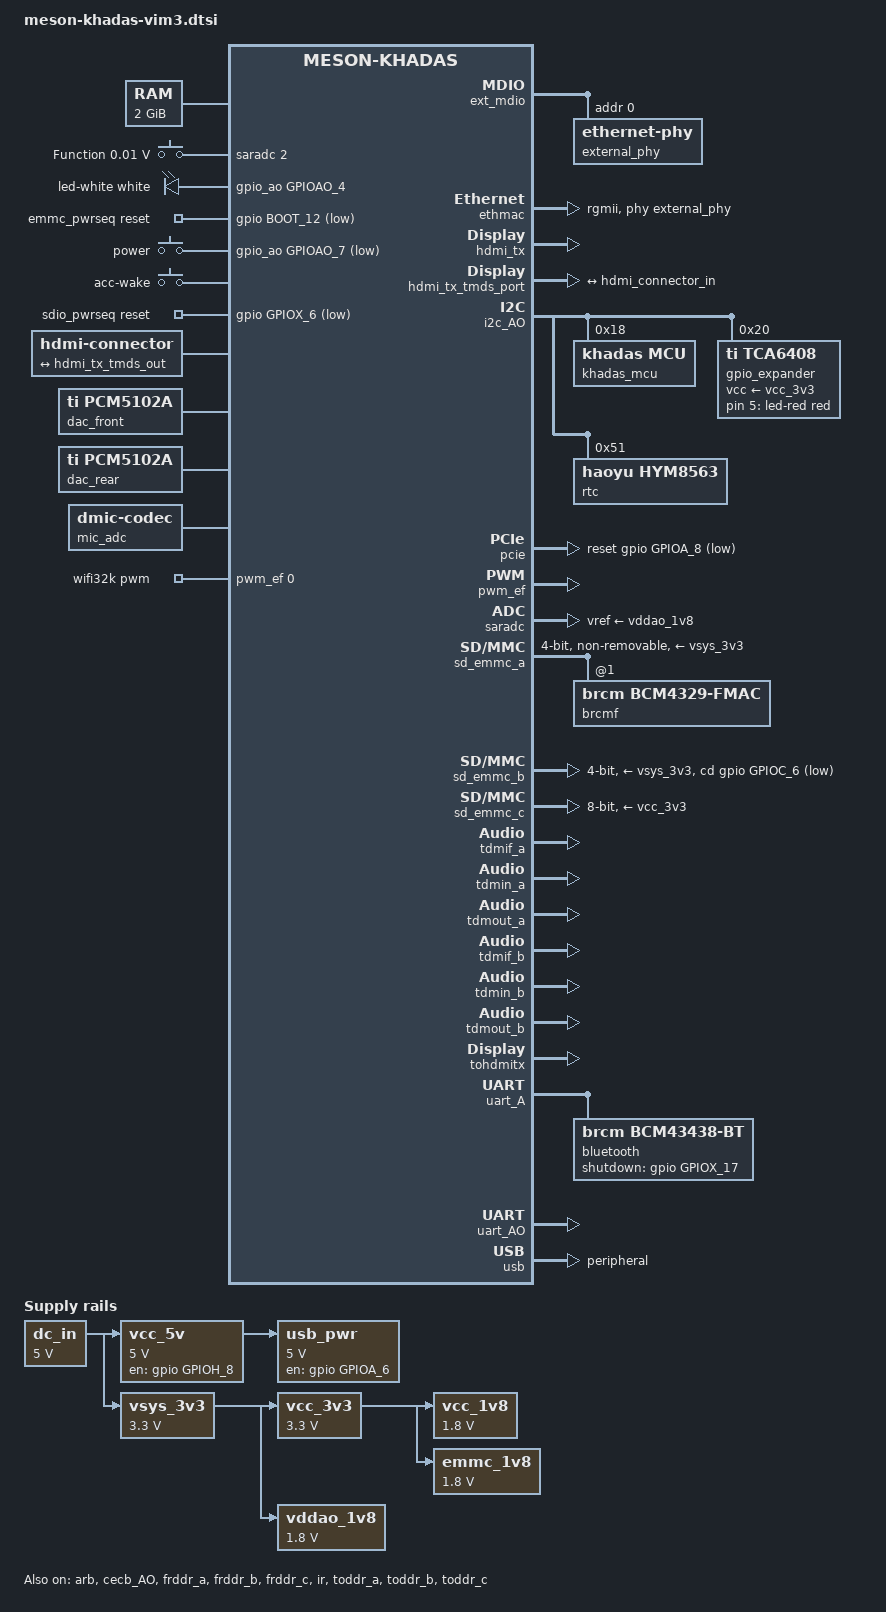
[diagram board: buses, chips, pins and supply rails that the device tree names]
// SPDX-License-Identifier: (GPL-2.0+ OR MIT)
/*
 * Copyright (c) 2019 BayLibre, SAS
 * Author: Neil Armstrong <narmstrong@baylibre.com>
 * Copyright (c) 2019 Christian Hewitt <christianshewitt@gmail.com>
 */

#include <dt-bindings/input/input.h>
#include <dt-bindings/leds/common.h>
#include <dt-bindings/gpio/meson-g12a-gpio.h>
#include <dt-bindings/sound/meson-g12a-tohdmitx.h>

/ {
	aliases {
		serial0 = &uart_AO;
		ethernet0 = &ethmac;
		rtc0 = &rtc;
		rtc1 = &vrtc;
	};

	chosen {
		stdout-path = "serial0:115200n8";
	};

	memory@0 {
		device_type = "memory";
		reg = <0x0 0x0 0x0 0x80000000>;
	};

	adc-keys {
		compatible = "adc-keys";
		io-channels = <&saradc 2>;
		io-channel-names = "buttons";
		keyup-threshold-microvolt = <1710000>;

		button-function {
			label = "Function";
			linux,code = <KEY_FN>;
			press-threshold-microvolt = <10000>;
		};
	};

	leds {
		compatible = "gpio-leds";

		led-white {
			color = <LED_COLOR_ID_WHITE>;
			function = LED_FUNCTION_STATUS;
			gpios = <&gpio_ao GPIOAO_4 GPIO_ACTIVE_HIGH>;
			linux,default-trigger = "heartbeat";
		};

		led-red {
			color = <LED_COLOR_ID_RED>;
			function = LED_FUNCTION_STATUS;
			gpios = <&gpio_expander 5 GPIO_ACTIVE_HIGH>;
		};
	};

	emmc_pwrseq: emmc-pwrseq {
		compatible = "mmc-pwrseq-emmc";
		reset-gpios = <&gpio BOOT_12 GPIO_ACTIVE_LOW>;
	};

	/*
	 * KEY_POWER here is driven by the Pico MCU relaying the car's ACC line
	 * (short press = ACC edge, long press = real power-off request -- see
	 * SchuurmanVehicleHardware accKeyLoop). The state is read by polling.
	 */
	gpio-keys-polled {
		compatible = "gpio-keys-polled";
		poll-interval = <100>;

		power-button {
			label = "power";
			linux,code = <KEY_POWER>;
			gpios = <&gpio_ao GPIOAO_7 GPIO_ACTIVE_LOW>;
		};
	};

	/*
	 * A polled GPIO cannot wake the SoC from suspend (nothing is running to
	 * poll it), which broke resuming from ACC-triggered suspend-to-RAM. The
	 * same pin (always-on domain) also has a real interrupt line through
	 * gpio_intc, so add an interrupt-only wake source next to the polled key.
	 *
	 * The G12 GPIO interrupt controller cannot do both-edge triggers (only
	 * sm1 and newer set support_edge_both), so this is falling-edge only: the
	 * pin is active-low, i.e. this is the "press". It emits an unmapped code
	 * so Android does not treat it as a wake/power key by itself; the polled
	 * node above keeps reporting KEY_POWER once the system is running again.
	 */
	gpio-keys-wake {
		compatible = "gpio-keys";

		acc-wake {
			label = "acc-wake";
			linux,code = <BTN_TRIGGER_HAPPY>;
			interrupt-parent = <&gpio_intc>;
			interrupts = <IRQID_GPIOAO_7 IRQ_TYPE_EDGE_FALLING>;
			wakeup-source;
		};
	};

	sdio_pwrseq: sdio-pwrseq {
		compatible = "mmc-pwrseq-simple";
		reset-gpios = <&gpio GPIOX_6 GPIO_ACTIVE_LOW>;
		clocks = <&wifi32k>;
		clock-names = "ext_clock";
	};

	dc_in: regulator-dc-in {
		compatible = "regulator-fixed";
		regulator-name = "DC_IN";
		regulator-min-microvolt = <5000000>;
		regulator-max-microvolt = <5000000>;
		regulator-always-on;
	};

	vcc_5v: regulator-vcc-5v {
		compatible = "regulator-fixed";
		regulator-name = "VCC_5V";
		regulator-min-microvolt = <5000000>;
		regulator-max-microvolt = <5000000>;
		vin-supply = <&dc_in>;

		gpio = <&gpio GPIOH_8 GPIO_OPEN_DRAIN>;
		enable-active-high;
	};

	vcc_1v8: regulator-vcc-1v8 {
		compatible = "regulator-fixed";
		regulator-name = "VCC_1V8";
		regulator-min-microvolt = <1800000>;
		regulator-max-microvolt = <1800000>;
		vin-supply = <&vcc_3v3>;
		regulator-always-on;
	};

	vcc_3v3: regulator-vcc-3v3 {
		compatible = "regulator-fixed";
		regulator-name = "VCC_3V3";
		regulator-min-microvolt = <3300000>;
		regulator-max-microvolt = <3300000>;
		vin-supply = <&vsys_3v3>;
		regulator-always-on;
		/* FIXME: actually controlled by VDDCPU_B_EN */
	};

	vddao_1v8: regulator-vddao-1v8 {
		compatible = "regulator-fixed";
		regulator-name = "VDDIO_AO1V8";
		regulator-min-microvolt = <1800000>;
		regulator-max-microvolt = <1800000>;
		vin-supply = <&vsys_3v3>;
		regulator-always-on;
	};

	emmc_1v8: regulator-emmc-1v8 {
		compatible = "regulator-fixed";
		regulator-name = "EMMC_AO1V8";
		regulator-min-microvolt = <1800000>;
		regulator-max-microvolt = <1800000>;
		vin-supply = <&vcc_3v3>;
		regulator-always-on;
	};

	vsys_3v3: regulator-vsys-3v3 {
		compatible = "regulator-fixed";
		regulator-name = "VSYS_3V3";
		regulator-min-microvolt = <3300000>;
		regulator-max-microvolt = <3300000>;
		vin-supply = <&dc_in>;
		regulator-always-on;
	};

	usb_pwr: regulator-usb-pwr {
		compatible = "regulator-fixed";
		regulator-name = "USB_PWR";
		regulator-min-microvolt = <5000000>;
		regulator-max-microvolt = <5000000>;
		vin-supply = <&vcc_5v>;

		gpio = <&gpio GPIOA_6 GPIO_ACTIVE_HIGH>;
		enable-active-high;
	};

	hdmi-connector {
		compatible = "hdmi-connector";
		type = "a";

		port {
			hdmi_connector_in: endpoint {
				remote-endpoint = <&hdmi_tx_tmds_out>;
			};
		};
	};


	sound {
		compatible = "amlogic,axg-sound-card";
		model = "KHADAS-VIM3";
		/*
		 * The PCM5102A codec has no DAPM widgets, so give the TDM-B playback path a
		 * sink endpoint here; without one DAPM never powers TDMOUT_B (its formatter
		 * is enabled from a DAPM event) and the DACs get no data.
		 */
		audio-widgets = "Line", "Car Audio Module Out";
		audio-aux-devs = <&tdmin_a>, <&tdmout_a>,
				 <&tdmin_b>, <&tdmout_b>;
		audio-routing = "TDMOUT_A IN 0", "FRDDR_A OUT 0",
				"TDMOUT_A IN 1", "FRDDR_B OUT 0",
				"TDMOUT_A IN 2", "FRDDR_C OUT 0",
				"TDM_A Playback", "TDMOUT_A OUT",
				"TDMOUT_B IN 0", "FRDDR_A OUT 1",
				"TDMOUT_B IN 1", "FRDDR_B OUT 1",
				"TDMOUT_B IN 2", "FRDDR_C OUT 1",
				"TDM_B Playback", "TDMOUT_B OUT",
				"Car Audio Module Out", "TDM_B Playback",
				"TDMIN_A IN 0", "TDM_A Capture",
				"TDMIN_A IN 3", "TDM_A Loopback",
				"TDMIN_B IN 1", "TDM_B Capture",
				"TDMIN_B IN 4", "TDM_B Loopback",
				"TODDR_A IN 0", "TDMIN_A OUT",
				"TODDR_B IN 0", "TDMIN_A OUT",
				"TODDR_C IN 0", "TDMIN_A OUT",
				"TODDR_A IN 1", "TDMIN_B OUT",
				"TODDR_B IN 1", "TDMIN_B OUT",
				"TODDR_C IN 1", "TDMIN_B OUT";

		clocks = <&clkc CLKID_MPLL2>,
			 <&clkc CLKID_MPLL0>,
			 <&clkc CLKID_MPLL1>;

		assigned-clocks = <&clkc CLKID_MPLL2>,
				  <&clkc CLKID_MPLL0>,
				  <&clkc CLKID_MPLL1>;
		assigned-clock-parents = <0>, <0>, <0>;
		assigned-clock-rates = <294912000>,
				       <270950400>,
				       <393216000>;

		dai-link-0 {
			sound-dai = <&frddr_a>;
		};

		dai-link-1 {
			sound-dai = <&frddr_b>;
		};

		dai-link-2 {
			sound-dai = <&frddr_c>;
		};

		dai-link-3 {
			sound-dai = <&toddr_a>;
		};

		dai-link-4 {
			sound-dai = <&toddr_b>;
		};

		dai-link-5 {
			sound-dai = <&toddr_c>;
		};

		/* 8ch hdmi interface */
		dai-link-6 {
			sound-dai = <&tdmif_a>;
			dai-format = "i2s";
			dai-tdm-slot-tx-mask-0 = <1 1>;
			dai-tdm-slot-tx-mask-1 = <1 1>;
			dai-tdm-slot-tx-mask-2 = <1 1>;
			dai-tdm-slot-tx-mask-3 = <1 1>;
			mclk-fs = <256>;

			codec {
				sound-dai = <&tohdmitx TOHDMITX_I2S_IN_A>;
			};
		};

		/* hdmi glue */
		dai-link-7 {
			sound-dai = <&tohdmitx TOHDMITX_I2S_OUT>;

			codec {
				sound-dai = <&hdmi_tx>;
			};
		};

		/*
		 * Car audio module on the 40-pin header (TDM-B, I2S, SoC is clock master):
		 *   pin 29 GPIOA_1 BCLK, pin 32 GPIOA_2 LRCK (shared by all three converters)
		 *   pin 31 GPIOA_3 lane 0 out -> front PCM5102A (ch 0/1 = FL/FR)
		 *   pin 33 GPIOA_4 lane 1 out -> rear PCM5102A  (ch 2/3 = RL/RR)
		 *   pin 30 GPIOA_0 MCLK0 (256 fs) -> PCM1808 SCKI
		 *   pin 35 GPIOH_5 lane 3 in  <- PCM1808 DOUT (mic on the left channel)
		 * 32-bit slots, so BCLK = 64 fs: the PCM1808 in slave mode needs 64 fs (or
		 * 48 fs), and the PCM5102A PLL accepts 32/48/64 fs. The PCM1808 has no driver
		 * of its own; dmic-codec is a generic capture-only DAI that stands in for it.
		 * Playback and capture share the interface clocks, so they always run at the
		 * same rate.
		 */
		dai-link-8 {
			sound-dai = <&tdmif_b>;
			dai-format = "i2s";
			dai-tdm-slot-num = <2>;
			dai-tdm-slot-width = <32>;
			dai-tdm-slot-tx-mask-0 = <1 1>;
			dai-tdm-slot-tx-mask-1 = <1 1>;
			dai-tdm-slot-rx-mask-3 = <1 1>;
			mclk-fs = <256>;

			codec-0 {
				sound-dai = <&dac_front>;
			};

			codec-1 {
				sound-dai = <&dac_rear>;
			};

			codec-2 {
				sound-dai = <&mic_adc>;
			};
		};
	};

	dac_front: audio-codec-0 {
		compatible = "ti,pcm5102a";
		#sound-dai-cells = <0>;
		sound-name-prefix = "DAC_FRONT";
	};

	dac_rear: audio-codec-1 {
		compatible = "ti,pcm5102a";
		#sound-dai-cells = <0>;
		sound-name-prefix = "DAC_REAR";
	};

	/* PCM1808 I2S ADC (FMT/MD0/MD1 low: I2S, slave), fed by a MAX9814 mic preamp */
	mic_adc: audio-codec-2 {
		compatible = "dmic-codec";
		#sound-dai-cells = <0>;
		num-channels = <2>;
		sound-name-prefix = "MIC_ADC";
	};

	wifi32k: wifi32k {
		compatible = "pwm-clock";
		#clock-cells = <0>;
		clock-frequency = <32768>;
		pwms = <&pwm_ef 0 30518 0>; /* PWM_E at 32.768KHz */
	};

	/*
	 * OP-TEE (BL32 in the FIP, TZDRAM 0x05300000 + 12 MiB, already inside the
	 * secmon@5300000 no-map reservation). Lives in the base DT rather than the DTBO
	 * because U-Boot never applies the DTBO overlay (adtbo_idx is not set).
	 *
	 * Dynamic SHM used to never activate on this platform: OP-TEE core only advertises it when
	 * core_mmu_nsec_ddr_is_defined() is true, which the g12b optee_os port never registered
	 * (confirmed via a live kprobe on pool_op_gen_alloc, 2026-09-22). Linux fell back to the
	 * static SHM pool at CFG_SHMEM_START=0x05000000, which turned out to be inside a range
	 * Amlogic's stock BL2 hardware-secures for its entire extent (confirmed by decompiling
	 * bl2.bin) -- causing real SError crashes. Fixed on the OP-TEE side, not here: see
	 * bootloader/optee_os/core/arch/arm/plat-amlogic/main.c (register_ddr() of the real
	 * non-secure DDR ranges) and conf.mk (CFG_CORE_RESERVED_SHM=n, so the hardware-secured
	 * static pool can never be used again). No memory-region/CMA carve-out needed here.
	 * See device/khadas/vim3/handoff-keymint-optee.md.
	 */
	firmware {
		optee {
			compatible = "linaro,optee-tz";
			method = "smc";
		};
	};
};

&arb {
	status = "okay";
};

&clkc_audio {
	status = "okay";
};

&cec_AO {
	pinctrl-0 = <&cec_ao_a_h_pins>;
	pinctrl-names = "default";
	status = "disabled";
	hdmi-phandle = <&hdmi_tx>;
};

&cecb_AO {
	pinctrl-0 = <&cec_ao_b_h_pins>;
	pinctrl-names = "default";
	status = "okay";
	hdmi-phandle = <&hdmi_tx>;
};

&cpu_thermal {
	trips {
		cpu_fan_low: cpu-fan-low {
			temperature = <45000>; /* millicelsius */
			hysteresis = <3000>; /* millicelsius */
			type = "active";
		};
		cpu_fan_med: cpu-fan-med {
			temperature = <55000>; /* millicelsius */
			hysteresis = <3000>; /* millicelsius */
			type = "active";
		};
		cpu_fan_high: cpu-fan-high {
			temperature = <65000>; /* millicelsius */
			hysteresis = <3000>; /* millicelsius */
			type = "active";
		};
	};

	cooling-maps {
		map0 {
			trip = <&cpu_fan_low>;
			cooling-device = <&khadas_mcu 1 1>;
		};
		map1 {
			trip = <&cpu_fan_med>;
			cooling-device = <&khadas_mcu 2 2>;
		};
		map2 {
			trip = <&cpu_fan_high>;
			cooling-device = <&khadas_mcu 3 3>;
		};
	};
};

&ext_mdio {
	external_phy: ethernet-phy@0 {
		/* Realtek RTL8211F (0x001cc916) */
		reg = <0>;
		max-speed = <1000>;

		interrupt-parent = <&gpio_intc>;
		/* MAC_INTR on GPIOZ_14 */
		interrupts = <26 IRQ_TYPE_LEVEL_LOW>;
	};
};

&ethmac {
	pinctrl-0 = <&eth_pins>, <&eth_rgmii_pins>;
	pinctrl-names = "default";
	status = "okay";
	phy-mode = "rgmii";
	phy-handle = <&external_phy>;
	amlogic,tx-delay-ns = <2>;
};

&frddr_a {
	status = "okay";
};

&frddr_b {
	status = "okay";
};

&frddr_c {
	status = "okay";
};

&hdmi_tx {
	status = "okay";
	pinctrl-0 = <&hdmitx_hpd_pins>, <&hdmitx_ddc_pins>;
	pinctrl-names = "default";
	hdmi-supply = <&vcc_5v>;
};

&hdmi_tx_tmds_port {
	hdmi_tx_tmds_out: endpoint {
		remote-endpoint = <&hdmi_connector_in>;
	};
};

&i2c_AO {
	status = "okay";
	pinctrl-0 = <&i2c_ao_sck_pins>, <&i2c_ao_sda_pins>;
	pinctrl-names = "default";

	khadas_mcu: system-controller@18 {
		compatible = "khadas,mcu";
		reg = <0x18>;
		#cooling-cells = <2>;
	};

	gpio_expander: gpio-controller@20 {
		compatible = "ti,tca6408";
		reg = <0x20>;
		vcc-supply = <&vcc_3v3>;
		gpio-controller;
		#gpio-cells = <2>;
	};

	rtc: rtc@51 {
		compatible = "haoyu,hym8563";
		reg = <0x51>;
		#clock-cells = <0>;
	};
};

&ir {
	status = "okay";
	pinctrl-0 = <&remote_input_ao_pins>;
	pinctrl-names = "default";
	linux,rc-map-name = "rc-khadas";
};

&pcie {
	reset-gpios = <&gpio GPIOA_8 GPIO_ACTIVE_LOW>;
};

&pwm_ef {
	status = "okay";
	/*
	 * PWM_E only (wifi32k). Header pin 35 (GPIOH_5) used to carry PWM_F for the
	 * perfboard backlight; on the rev 0.6 board the MCU drives the backlight and
	 * pin 35 is the audio module's TDM-B data input (mic ADC), see &tdmif_b.
	 */
	pinctrl-0 = <&pwm_e_pins>;
	pinctrl-names = "default";
};

&saradc {
	status = "okay";
	vref-supply = <&vddao_1v8>;
};

/* SDIO */
&sd_emmc_a {
	status = "okay";
	pinctrl-0 = <&sdio_pins>;
	pinctrl-1 = <&sdio_clk_gate_pins>;
	pinctrl-names = "default", "clk-gate";
	#address-cells = <1>;
	#size-cells = <0>;

	bus-width = <4>;
	cap-sd-highspeed;
	max-frequency = <100000000>;

	non-removable;
	disable-wp;

	/* WiFi firmware requires power to be kept while in suspend */
	keep-power-in-suspend;

	mmc-pwrseq = <&sdio_pwrseq>;

	vmmc-supply = <&vsys_3v3>;
	vqmmc-supply = <&vddao_1v8>;

	brcmf: wifi@1 {
		reg = <1>;
		compatible = "brcm,bcm4329-fmac";
	};
};

/* SD card */
&sd_emmc_b {
	status = "okay";
	pinctrl-0 = <&sdcard_c_pins>;
	pinctrl-1 = <&sdcard_clk_gate_c_pins>;
	pinctrl-names = "default", "clk-gate";

	bus-width = <4>;
	cap-sd-highspeed;
	max-frequency = <50000000>;
	disable-wp;

	cd-gpios = <&gpio GPIOC_6 GPIO_ACTIVE_LOW>;
	vmmc-supply = <&vsys_3v3>;
	vqmmc-supply = <&vsys_3v3>;
};

/* eMMC */
&sd_emmc_c {
	status = "okay";
	pinctrl-0 = <&emmc_ctrl_pins>, <&emmc_data_8b_pins>, <&emmc_ds_pins>;
	pinctrl-1 = <&emmc_clk_gate_pins>;
	pinctrl-names = "default", "clk-gate";

	bus-width = <8>;
	cap-mmc-highspeed;
	mmc-ddr-1_8v;
	mmc-hs200-1_8v;
	max-frequency = <200000000>;
	disable-wp;

	mmc-pwrseq = <&emmc_pwrseq>;
	vmmc-supply = <&vcc_3v3>;
	vqmmc-supply = <&emmc_1v8>;
};

/*
 * EMMC_D4, EMMC_D5, EMMC_D6 and EMMC_D7 pins are shared between SPI NOR CS
 * and eMMC Data 4 to 7 pins.
 * Replace emmc_data_8b_pins to emmc_data_4b_pins from sd_emmc_c pinctrl-0,
 * and change bus-width to 4 then spifc can be enabled.
 */
&spifc {
	status = "disabled";
	pinctrl-0 = <&nor_pins>;
	pinctrl-names = "default";

	w25q128: flash@0 {
		#address-cells = <1>;
		#size-cells = <1>;
		compatible = "winbond,w25q128fw", "jedec,spi-nor";
		reg = <0>;
		spi-max-frequency = <104000000>;
	};
};

&tdmif_a {
	status = "okay";
};

&tdmin_a {
	status = "okay";
};

&tdmout_a {
	status = "okay";
};

/* Car audio module, see dai-link-8 in the sound node. */
&tdmif_b {
	pinctrl-0 = <&tdm_b_sclk_pins>, <&tdm_b_fs_pins>,
		    <&tdm_b_dout0_pins>, <&tdm_b_dout1_pins>,
		    <&tdm_b_din3_h_pins>, <&mclk0_a_pins>;
	pinctrl-names = "default";
	status = "okay";

	/* Drive the BCLK/LRCK pads and the MCLK0 pad from the TDM-B master clocks. */
	assigned-clocks = <&clkc_audio AUD_CLKID_TDM_SCLK_PAD1>,
			  <&clkc_audio AUD_CLKID_TDM_LRCLK_PAD1>,
			  <&clkc_audio AUD_CLKID_TDM_MCLK_PAD0>;
	assigned-clock-parents = <&clkc_audio AUD_CLKID_MST_B_SCLK>,
				 <&clkc_audio AUD_CLKID_MST_B_LRCLK>,
				 <&clkc_audio AUD_CLKID_MST_B_MCLK>;
	assigned-clock-rates = <0>, <0>, <0>;
};

&tdmin_b {
	status = "okay";
};

&tdmout_b {
	status = "okay";
};

&toddr_a {
	status = "okay";
};

&toddr_b {
	status = "okay";
};

&toddr_c {
	status = "okay";
};

&tohdmitx {
	status = "okay";
};

&uart_A {
	status = "okay";
	pinctrl-0 = <&uart_a_pins>, <&uart_a_cts_rts_pins>;
	pinctrl-names = "default";
	uart-has-rtscts;

	bluetooth {
		compatible = "brcm,bcm43438-bt";
		shutdown-gpios = <&gpio GPIOX_17 GPIO_ACTIVE_HIGH>;
		max-speed = <2000000>;
		clocks = <&wifi32k>;
		clock-names = "lpo";
	};
};

&uart_AO {
	status = "okay";
	pinctrl-0 = <&uart_ao_a_pins>;
	pinctrl-names = "default";
};

&usb2_phy0 {
	phy-supply = <&dc_in>;
};

&usb2_phy1 {
	phy-supply = <&usb_pwr>;
};

&usb3_pcie_phy {
	phy-supply = <&usb_pwr>;
};

&usb {
	status = "okay";
	dr_mode = "peripheral";
};
